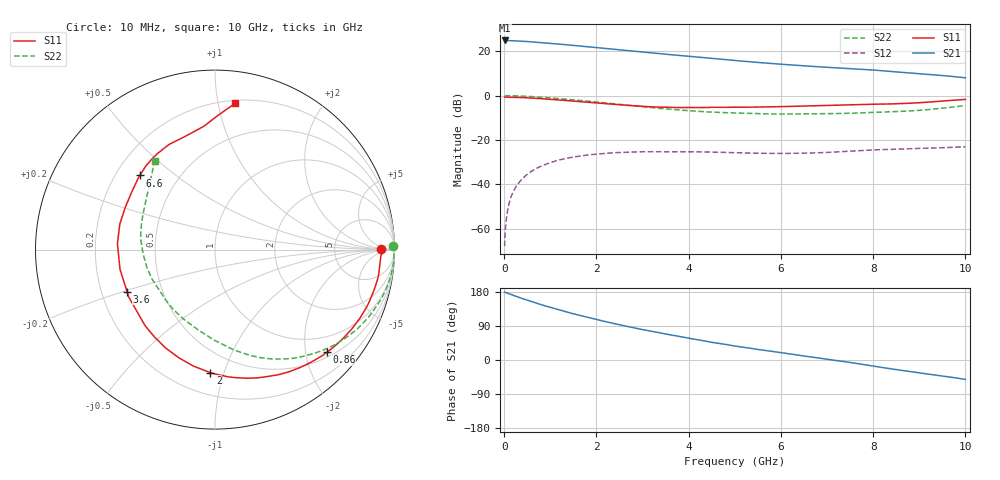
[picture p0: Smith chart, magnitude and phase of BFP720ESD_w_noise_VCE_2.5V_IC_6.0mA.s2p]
! Infineon Technologies  Discrete & RF Semiconductors
! BFP720ESD
! VCE =  2.5 V,  IC =  6.0 mA
! Common Emitter S-Parameters:  Jan 2016
# GHz  S  MA  R  50
!  f  S11  S21  S12  S22
! GHz  MAG  ANG  MAG  ANG  MAG  ANG  MAG  ANG
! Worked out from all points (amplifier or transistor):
!   233 points, 10 MHz to 10 GHz, reference 50 ohm
!   highest |S21| = 24.9 dB at 10 MHz (marker M1)
!   |S21| within 3 dB of that: start of sweep to 1.879 GHz
!   unconditionally stable (mu >= 1): 5.622 GHz to 9.264 GHz
!   at 200 MHz: K = 0.05, MSG = 34.1 dB, |S12| = -43.3 dB
!   at 1.74 GHz: K = 0.29, MSG = 24.6 dB, |S12| = -27.0 dB
!   at 10 GHz: K = 0.72, MSG = 15.6 dB, |S12| = -23.1 dB
!   lowest NFmin = 0.58 dB at 450 MHz
!   S11 on the Smith chart (normalised r, x): 10 MHz: 25, +1; 860 MHz: 0.60, -2.44; 2 GHz: 0.35, -0.90; 3.6 GHz: 0.31, -0.21; 6.6 GHz: 0.30, +0.38; 10 GHz: 0.22, +1.12
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0.01  0.924 0.2  17.59 179.3  0.0004 122.5  0.9892 1.3
0.04  0.9259 -2.1  17.42 177.7  0.0014 86.8  0.9973 -1.1
0.11  0.922 -5.7  17.46 174.8  0.0038 85.6  0.9972 -3.7
0.2  0.9212 -10.2  17.37 170.7  0.0068 83.3  0.9932 -6.8
0.4  0.9046 -20.3  16.9 161.9  0.0135 76.8  0.9758 -13.5
0.6  0.881 -30.2  16.35 153.6  0.0198 70.2  0.9514 -19.9
0.86  0.8459 -42.6  15.58 143.9  0.0271 62.3  0.9133 -27.9
1.1  0.8112 -53.9  14.86 135.3  0.0331 55.7  0.8732 -35.0
1.3  0.7819 -63.0  14.24 128.3  0.0374 50.3  0.8386 -40.6
1.68  0.7273 -79.4  13.05 116.2  0.0438 41.3  0.7721 -50.3
2  0.6859 -92.2  12.11 106.9  0.0479 34.8  0.7202 -57.8
2.64  0.6078 -118.3  10.47 89.3  0.0528 23.2  0.6139 -72.5
3  0.5762 -132.4  9.644 80.2  0.0541 17.8  0.5615 -80.4
3.4  0.5492 -147.2  8.789 71.1  0.0543 13.1  0.513 -88.6
3.6  0.5429 -154.4  8.419 66.5  0.0543 11.0  0.4923 -92.9
4  0.5405 -168.3  7.756 57.5  0.0542 7.4  0.4572 -101.8
4.5  0.5447 176.5  6.957 46.7  0.0532 3.5  0.4251 -114.2
5.1  0.5485 162.9  6.088 35.2  0.0512 1.1  0.4032 -126.7
6.6  0.5881 135.4  4.637 8.9  0.0506 2.5  0.3877 -157.6
6.8  0.5955 132.5  4.492 5.6  0.0514 3.0  0.389 -161.4
8.4  0.6502 105.7  3.497 -23.5  0.0614 -0.4  0.4326 161.5
10  0.8223 82.1  2.526 -51.2  0.0701 -7.5  0.5972 124.3
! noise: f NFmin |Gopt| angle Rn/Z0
0.45  0.58  0.43  5  0.13
0.9  0.61  0.42  12  0.14
1.9  0.64  0.36  31  0.13
2.4  0.68  0.34  36  0.14
5.5  0.89  0.11  111  0.08
10  1.47  0.54  -97  0.38
